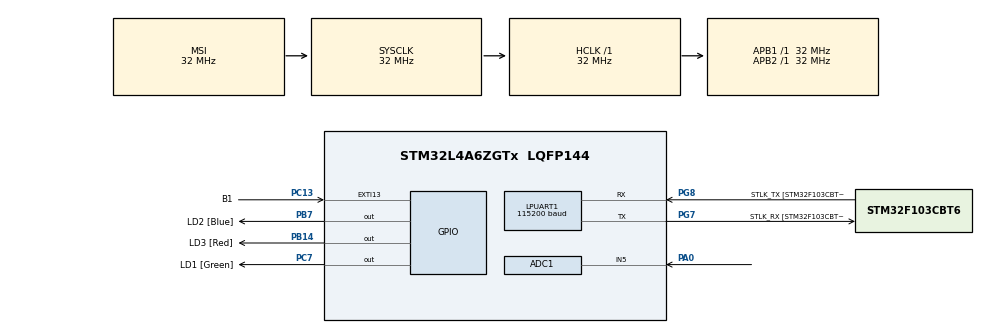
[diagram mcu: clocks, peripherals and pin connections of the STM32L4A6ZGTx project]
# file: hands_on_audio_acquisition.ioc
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ADC1.Channel-0\#ChannelRegularConversion=ADC_CHANNEL_5
ADC1.ExternalTrigConv=ADC_EXTERNALTRIG_T3_TRGO
ADC1.NbrOfConversionFlag=1
ADC1.OffsetNumber-0\#ChannelRegularConversion=ADC_OFFSET_NONE
ADC1.Rank-0\#ChannelRegularConversion=1
ADC1.SamplingTime-0\#ChannelRegularConversion=ADC_SAMPLETIME_2CYCLES_5
ADC1.master=1
Dma.ADC1.0.Direction=DMA_PERIPH_TO_MEMORY
Dma.ADC1.0.Instance=DMA1_Channel1
Dma.ADC1.0.MemDataAlignment=DMA_MDATAALIGN_HALFWORD
Dma.ADC1.0.MemInc=DMA_MINC_ENABLE
Dma.ADC1.0.Mode=DMA_NORMAL
Dma.ADC1.0.PeriphDataAlignment=DMA_PDATAALIGN_HALFWORD
Dma.ADC1.0.PeriphInc=DMA_PINC_DISABLE
Dma.ADC1.0.Priority=DMA_PRIORITY_LOW
Dma.Request0=ADC1
LPUART1.AutoBaudRateEnableParam=UART_ADVFEATURE_AUTOBAUDRATE_DISABLE
LPUART1.BaudRate=115200
LPUART1.DMADisableonRxErrorParam=UART_ADVFEATURE_DMA_ENABLEONRXERROR
LPUART1.DataInvertParam=UART_ADVFEATURE_DATAINV_DISABLE
LPUART1.MSBFirstParam=UART_ADVFEATURE_MSBFIRST_DISABLE
LPUART1.Mode=UART_MODE_TX_RX
LPUART1.OneBitSampling=UART_ONE_BIT_SAMPLE_DISABLE
LPUART1.OverrunDisableParam=UART_ADVFEATURE_OVERRUN_ENABLE
LPUART1.Parity=UART_PARITY_NONE
LPUART1.RxPinLevelInvertParam=UART_ADVFEATURE_RXINV_DISABLE
LPUART1.StopBits=UART_STOPBITS_1
LPUART1.SwapParam=UART_ADVFEATURE_SWAP_DISABLE
LPUART1.TxPinLevelInvertParam=UART_ADVFEATURE_TXINV_DISABLE
LPUART1.WordLength=UART_WORDLENGTH_8B
Mcu.Family=STM32L4
Mcu.Name=STM32L4A6ZGTx
Mcu.Package=LQFP144
NVIC.DMA1_Channel1_IRQn=true\:0\:0\:false\:false\:true\:false\:true\:true
NVIC.EXTI15_10_IRQn=true\:0\:0\:false\:false\:true\:true\:true\:true
NVIC.PriorityGroup=NVIC_PRIORITYGROUP_4
PA0.Signal=ADCx_IN5
PA13\ (JTMS/SWDIO).GPIO_Label=TMS
PA13\ (JTMS/SWDIO).Mode=Trace_Asynchronous_SW
PA13\ (JTMS/SWDIO).Signal=SYS_JTMS-SWDIO
PA14\ (JTCK/SWCLK).GPIO_Label=TCK
PA14\ (JTCK/SWCLK).Mode=Trace_Asynchronous_SW
PA14\ (JTCK/SWCLK).Signal=SYS_JTCK-SWCLK
PB14.GPIO_Label=LD3 [Red]
PB14.Signal=GPIO_Output
PB3\ (JTDO/TRACESWO).GPIO_Label=SWO
PB3\ (JTDO/TRACESWO).Mode=Trace_Asynchronous_SW
PB3\ (JTDO/TRACESWO).Signal=SYS_JTDO-SWO
PB7.GPIO_Label=LD2 [Blue]
PB7.Signal=GPIO_Output
PC13.GPIO_Label=B1
PC13.Signal=GPXTI13
PC14-OSC32_IN\ (PC14).Mode=LSE-External-Oscillator
PC14-OSC32_IN\ (PC14).Signal=RCC_OSC32_IN
PC15-OSC32_OUT\ (PC15).Mode=LSE-External-Oscillator
PC15-OSC32_OUT\ (PC15).Signal=RCC_OSC32_OUT
PC7.GPIO_Label=LD1 [Green]
PC7.Signal=GPIO_Output
PG7.GPIO_Label=STLK_RX [STM32F103CBT6_PA3]
PG7.Mode=Asynchronous
PG7.Signal=LPUART1_TX
PG8.GPIO_Label=STLK_TX [STM32F103CBT6_PA2]
PG8.Mode=Asynchronous
PG8.Signal=LPUART1_RX
PH1-OSC_OUT\ (PH1).Signal=RCC_OSC_OUT
ProjectManager.HeapSize=0x200
ProjectManager.StackSize=0x400
ProjectManager.TargetToolchain=STM32CubeIDE
RCC.ADCCLockSelection=RCC_ADCCLKSOURCE_SYSCLK
RCC.ADCFreq_Value=32000000
RCC.AHBFreq_Value=32000000
RCC.APB1Freq_Value=32000000
RCC.APB1TimFreq_Value=32000000
RCC.APB2Freq_Value=32000000
RCC.APB2TimFreq_Value=32000000
RCC.CortexFreq_Value=32000000
RCC.FLatency=FLASH_LATENCY_1
RCC.HCLKFreq_Value=32000000
RCC.HSE_VALUE=8000000
RCC.HSI48_VALUE=48000000
RCC.HSI_VALUE=16000000
RCC.MSIClockRange=RCC_MSIRANGE_10
RCC.MSI_VALUE=32000000
RCC.PLLN=71
RCC.PLLR=RCC_PLLR_DIV6
RCC.PLLSAI1N=24
RCC.SYSCLKFreq_VALUE=32000000
RCC.USBFreq_Value=384000000
RCC.VCOOutputFreq_Value=2272000000
SH.ADCx_IN5.0=ADC1_IN5,IN5-Single-Ended
TIM3.Period=195
TIM3.Prescaler=15
TIM3.TIM_MasterOutputTrigger=TIM_TRGO_UPDATE
VP_TIM3_VS_ClockSourceINT.Mode=Internal
board=NUCLEO-L4A6ZG

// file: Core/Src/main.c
/* USER CODE BEGIN Header */
/**
  ******************************************************************************
  * @file           : main.c
  * @brief          : Main program body
  ******************************************************************************
  * @attention
  *
  * <h2><center>&copy; Copyright (c) 2021 STMicroelectronics.
  * All rights reserved.</center></h2>
  *
  * This software component is licensed by ST under BSD 3-Clause license,
  * the "License"; You may not use this file except in compliance with the
  * License. You may obtain a copy of the License at:
  *                        opensource.org/licenses/BSD-3-Clause
  *
  ******************************************************************************
  */
/* USER CODE END Header */
#include "main.h"
#include "adc.h"
#include "dma.h"
#include "usart.h"
#include "tim.h"
#include "gpio.h"

/* USER CODE BEGIN Includes */
#include <stdio.h>
#include "retarget.h"
/* USER CODE END Includes */

/* USER CODE BEGIN PD */
#define ADC_BUF_SIZE 30000
/* USER CODE END PD */

/* USER CODE BEGIN PV */
volatile int buttonPressed;
volatile int sound_bigger_than_50;
volatile uint16_t ADCBuffer[2*ADC_BUF_SIZE]; /* ADC group regular conversion data (array of data) */
volatile uint16_t* ADCData1;
volatile uint16_t* ADCData2;

char hex_encoded_buffer[4*ADC_BUF_SIZE+1];
/* USER CODE END PV */

void SystemClock_Config(void);
/* USER CODE BEGIN PFP */
void hex_encode(char* s, const uint8_t* buf, size_t len);
void print_buffer(uint16_t *buffer);
uint32_t get_signal_power(uint16_t *buffer, size_t len);
/* USER CODE END PFP */

/* USER CODE BEGIN 0 */

void HAL_GPIO_EXTI_Callback(uint16_t GPIO_Pin) {
  // If the button is pressed, change state buttonPressed
	if (GPIO_Pin == B1_Pin) {
    //__disable_irq(); //Disable interrupts
    buttonPressed = 1;
    //__enable_irq(); //Enable interrupts
	}
}

void HAL_ADC_ConvCpltCallback(ADC_HandleTypeDef *hadc){
  // If buffer is full
  HAL_TIM_Base_Stop(&htim3);
  HAL_ADC_Stop_DMA(&hadc1);

	if(sound_bigger_than_50){
    printf("Sending datas\r\n");
    print_buffer(ADCData1);

	}else{
    printf("Waiting for sound\r\n");
    HAL_TIM_Base_Start(&htim3);
    HAL_ADC_Start_DMA(&hadc1, ADCData1, 2*ADC_BUF_SIZE);
	}
  /*Fin ADC, fuffer full
  // Fini, allume led
  HAL_GPIO_WritePin(LD2_GPIO_Port, LD2_Pin, GPIO_PIN_SET);
  // Stop ADC et Timer
  HAL_ADC_Stop_DMA(&hadc1);
  HAL_TIM_Base_Stop(&htim3);
  print_buffer(ADCBuffer);//Envoie sur UART
  //Etein led
  HAL_GPIO_WritePin(LD2_GPIO_Port, LD2_Pin, GPIO_PIN_RESET);
  */
}

void HAL_ADC_ConvHalfCpltCallback(ADC_HandleTypeDef *hadc){
  // If half of the buffer is filled
	uint32_t power = get_signal_power(ADCData1, ADC_BUF_SIZE);
  printf("Power: %d\r\n", power);
  if (power>200){
    sound_bigger_than_50 = 1;
  }
}

void hex_encode(char* s, const uint8_t* buf, size_t len) {
  /* Encode buffer in hexadecimal format */
    s[2*len] = '\0'; // A string terminated by a zero char.
    for (size_t i=0; i<len; i++) {
        s[i*2] = "0123456789abcdef"[buf[i] >> 4];
        s[i*2+1] = "0123456789abcdef"[buf[i] & 0xF];
    }
}

void print_buffer(uint16_t *buffer) {
  /* Print buffer in hexadecimal format*/
	hex_encode(hex_encoded_buffer, (uint8_t*)buffer, 2*ADC_BUF_SIZE);
	printf("SND:HEX:%s\r\n", hex_encoded_buffer);
}

uint32_t get_signal_power(uint16_t *buffer, size_t len){
  /* Compute signal power */
	uint64_t sum = 0;
	uint64_t sum2 = 0;
	for (size_t i=0; i<len; i++) {
		sum += (uint64_t) buffer[i];
		sum2 += (uint64_t) buffer[i]*(uint64_t) buffer[i];
	}
	return (uint32_t)(sum2/len - sum*sum/len/len);
}
/* USER CODE END 0 */

int main(void)
{

  /* MCU Configuration--------------------------------------------------------*/

  /* Reset of all peripherals, Initializes the Flash interface and the Systick. */
  HAL_Init();

  /* Configure the system clock */
  SystemClock_Config();

  /* Initialize all configured peripherals */
  MX_GPIO_Init();
  MX_DMA_Init();
  MX_LPUART1_UART_Init();
  MX_ADC1_Init();
  MX_TIM3_Init();
  /* USER CODE BEGIN 2 */
  RetargetInit(&hlpuart1);
  printf("Hello world!\r\n");

  buttonPressed = 0;
  sound_bigger_than_50 = 0;
  ADCData1 = &ADCBuffer[0];
  ADCData2 = &ADCBuffer[ADC_BUF_SIZE];
  /* USER CODE END 2 */

  /* Infinite loop */
  /* USER CODE BEGIN WHILE */
  while (1){
    if(0) __WFI(); // Wait for interrupt
    else {
      // Start the ADC and the timer
      HAL_TIM_Base_Start(&htim3);
      HAL_ADC_Start_DMA(&hadc1, ADCData1, 2*ADC_BUF_SIZE);
      buttonPressed = 0;
    }

  // Convert the ADC values if button is pressed

    /* USER CODE END WHILE */

  }
}

void SystemClock_Config(void)
{
  RCC_OscInitTypeDef RCC_OscInitStruct = {0};
  RCC_ClkInitTypeDef RCC_ClkInitStruct = {0};

  /** Configure the main internal regulator output voltage
  */
  if (HAL_PWREx_ControlVoltageScaling(PWR_REGULATOR_VOLTAGE_SCALE1) != HAL_OK)
  {
    Error_Handler();
  }

  /** Initializes the RCC Oscillators according to the specified parameters
  * in the RCC_OscInitTypeDef structure.
  */
  RCC_OscInitStruct.OscillatorType = RCC_OSCILLATORTYPE_MSI;
  RCC_OscInitStruct.MSIState = RCC_MSI_ON;
  RCC_OscInitStruct.MSICalibrationValue = 0;
  RCC_OscInitStruct.MSIClockRange = RCC_MSIRANGE_10;
  RCC_OscInitStruct.PLL.PLLState = RCC_PLL_NONE;
  if (HAL_RCC_OscConfig(&RCC_OscInitStruct) != HAL_OK)
  {
    Error_Handler();
  }

  /** Initializes the CPU, AHB and APB buses clocks
  */
  RCC_ClkInitStruct.ClockType = RCC_CLOCKTYPE_HCLK|RCC_CLOCKTYPE_SYSCLK
                              |RCC_CLOCKTYPE_PCLK1|RCC_CLOCKTYPE_PCLK2;
  RCC_ClkInitStruct.SYSCLKSource = RCC_SYSCLKSOURCE_MSI;
  RCC_ClkInitStruct.AHBCLKDivider = RCC_SYSCLK_DIV1;
  RCC_ClkInitStruct.APB1CLKDivider = RCC_HCLK_DIV1;
  RCC_ClkInitStruct.APB2CLKDivider = RCC_HCLK_DIV1;

  if (HAL_RCC_ClockConfig(&RCC_ClkInitStruct, FLASH_LATENCY_1) != HAL_OK)
  {
    Error_Handler();
  }
}

void Error_Handler(void)
{
  /* USER CODE BEGIN Error_Handler_Debug */
  /* User can add his own implementation to report the HAL error return buttonPressed */
  __disable_irq();
  printf("Error!\r\n");
  while (1)
  {
  }
  /* USER CODE END Error_Handler_Debug */
}
